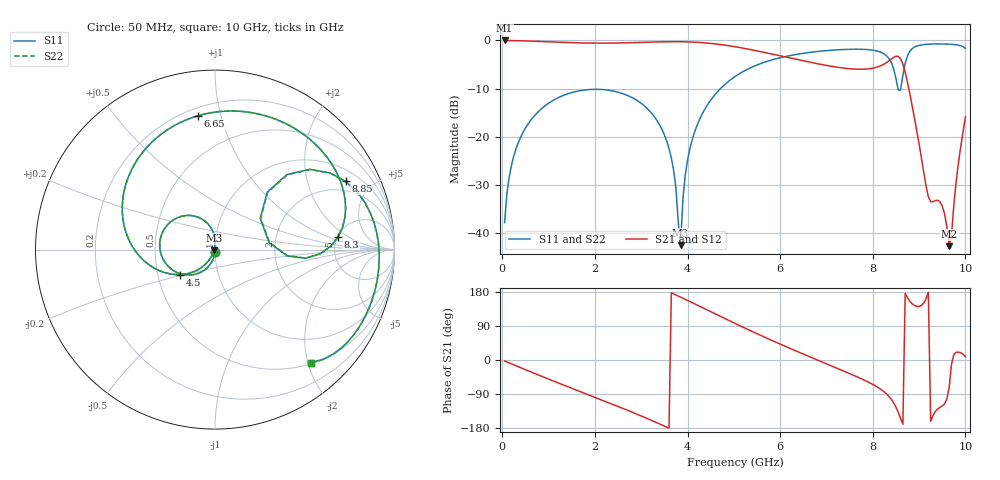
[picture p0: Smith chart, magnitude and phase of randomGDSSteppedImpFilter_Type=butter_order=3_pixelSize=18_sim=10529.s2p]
! freq	dB(S11)	phase(S11)	dB(S12)	phase(S12)
!  dB(S21)	phase(S21)	dB(S22)	phase(S22)
!S-par simulation data
#  GHz  S  DB  R 50
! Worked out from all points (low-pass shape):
!   200 points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, 50 MHz to 10 GHz, reference 50 ohm
!   highest |S21| = 0.00 dB at 50 MHz (marker M1); lowest = -42.8 dB at 9.65 GHz (marker M2)
!   |S21| within 3 dB of the highest: start of sweep to 5.906 GHz
!   lowest |S11| = -42.6 dB at 3.85 GHz (marker M3), VSWR 1.01, Z = 49.3 - j0.298 ohm
!   |S11| at or under -10 dB: start of sweep to 4.713 GHz; 8.543 GHz to 8.605 GHz (61.82 MHz wide, 0.721 % of centre)
!   |S22| runs from -42.6 to -0.7 dB; largest |S21 - S12| = 0
!   S11 on the Smith chart (normalised r, x): 50 MHz: 1.00, -0.03; 4.5 GHz: 0.65, -0.19; 6.65 GHz: 0.25, +0.85; 8.3 GHz: 5.06, +1.40; 8.85 GHz: 1.49, +3.47; 10 GHz: 0.52, -2.06
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0.05  -37.88 -92.5  -0.00 -2.6  -0.00 -2.6  -37.88 -92.5
0.2  -25.90 -100.6  -0.03 -10.3  -0.03 -10.3  -25.90 -100.6
0.5  -18.23 -116.1  -0.10 -25.6  -0.10 -25.6  -18.24 -116.1
1.75  -10.34 -177.2  -0.52 -86.6  -0.52 -86.6  -10.34 -177.2
3.4  -17.61 102.0  -0.30 -168.8  -0.30 -168.8  -17.61 101.9
3.7  -27.02 89.5  -0.26 174.5  -0.26 174.5  -27.03 89.3
3.85  -42.59 -156.0  -0.27 165.9  -0.27 165.9  -42.64 -155.5
3.9  -33.03 -121.0  -0.28 163.0  -0.28 163.0  -33.03 -120.7
4.05  -22.55 -120.5  -0.32 154.3  -0.32 154.3  -22.55 -120.4
4.5  -12.41 -144.5  -0.61 127.6  -0.61 127.6  -12.41 -144.5
5.05  -7.34 -176.3  -1.34 95.1  -1.34 95.1  -7.34 -176.3
6.65  -2.48 97.3  -4.55 7.9  -4.55 7.9  -2.48 97.3
6.7  -2.42 94.8  -4.64 5.4  -4.64 5.4  -2.42 94.8
7.55  -1.83 51.6  -5.92 -38.3  -5.92 -38.3  -1.83 51.6
8.3  -3.22 6.0  -4.59 -89.8  -4.59 -89.8  -3.21 6.0
8.35  -3.77 1.9  -4.25 -96.2  -4.25 -96.2  -3.77 1.9
8.6  -10.30 34.5  -3.80 -153.7  -3.80 -153.7  -10.24 34.3
8.85  -1.71 27.6  -13.55 148.5  -13.55 148.5  -1.71 27.4
9.2  -0.78 -0.7  -32.52 178.8  -32.52 178.8  -0.78 -0.9
9.5  -0.73 -17.7  -34.42 -121.1  -34.42 -121.1  -0.73 -17.8
9.65  -0.78 -25.9  -42.80 -71.9  -42.80 -71.9  -0.78 -26.0
10  -1.64 -49.5  -15.91 8.8  -15.91 8.8  -1.65 -49.8
